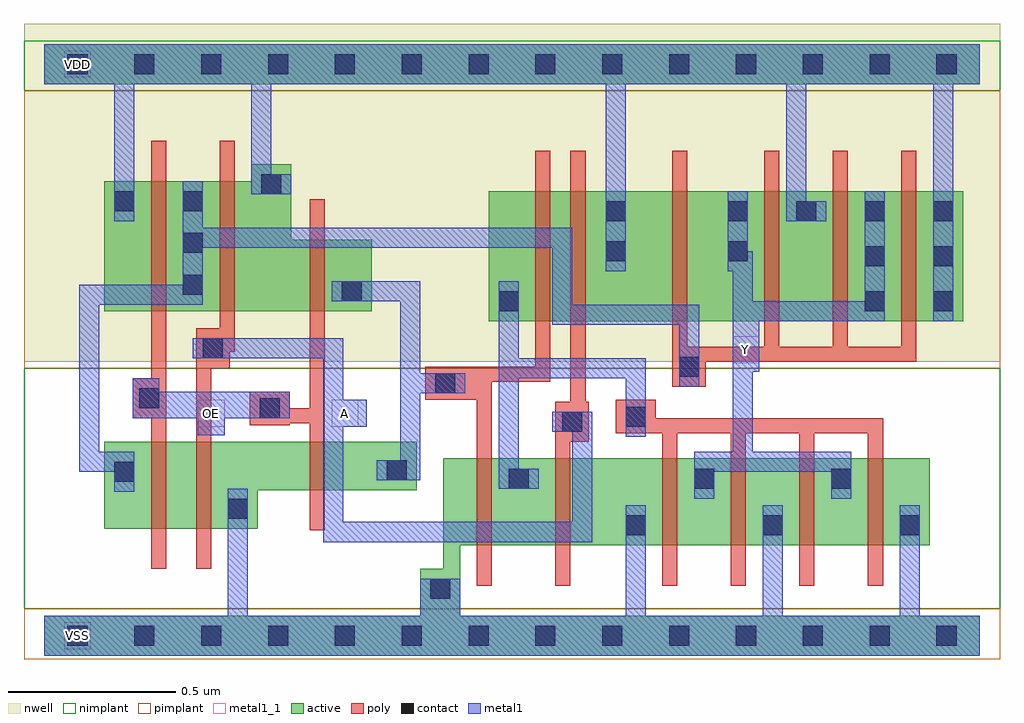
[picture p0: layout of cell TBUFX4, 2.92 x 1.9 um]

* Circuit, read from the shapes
.subckt TBUFX4 A OE VDD VSS Y
M1 n1 OE n2 VSS nfet w=0.26u l=0.045u
M2 VSS A n1 VSS nfet w=0.26u l=0.045u
M3 n3 OE VSS VSS nfet w=0.145u l=0.045u
M4 n4 n3 VSS VSS nfet w=0.26u l=0.045u
M5 VSS A n4 VSS nfet w=0.26u l=0.045u
M6 Y n4 VSS VSS nfet w=0.26u l=0.045u m=4
M7 n2 OE VDD VDD pfet w=0.39u l=0.045u
M8 VDD A n2 VDD pfet w=0.39u l=0.045u
M9 n3 OE VDD VDD pfet w=0.215u l=0.045u
M10 n5 n3 n4 VDD pfet w=0.39u l=0.045u
M11 VDD A n5 VDD pfet w=0.39u l=0.045u
M12 Y n2 VDD VDD pfet w=0.39u l=0.045u m=4
.ends

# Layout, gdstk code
import gdstk
lib = gdstk.Library(unit=1e-6, precision=5e-10)
def R(c, l, rs):  # rectangles x0, y0, x1, y1
    for r in rs: c.add(gdstk.rectangle(r[:2], r[2:], *l))
def A(c, l, x, y, w, h, nx, ny, dx, dy):  # array of equal rectangles
    R(c, l, [(x+i*dx, y+j*dy, x+i*dx+w, y+j*dy+h) for i in range(nx) for j in range(ny)])
def P(c, l, *ps):  # polygons
    for p in ps: c.add(gdstk.Polygon(p, *l))
active = (1, 0)
nwell = (2, 0)
poly = (3, 0)
nimplant = (4, 0)
pimplant = (5, 0)
contact = (6, 0)
metal1 = (7, 0)
metal1_1 = (7, 1)

tbufx4 = lib.new_cell('TBUFX4')
R(tbufx4, active, [(1.33,0.94,2.75,1.33), (0,1.65,2.8,1.77)])
P(tbufx4, active, [(0.62,1.41),(0.74,1.41),(0.74,1.185),(0.98,1.185),(0.98,0.97),(0.18,0.97),(0.18,1.36),(0.62,1.36)],
  [(0.18,0.58),(1.115,0.58),(1.115,0.435),(0.64,0.435),(0.64,0.32),(0.18,0.32)],
  [(1.195,0.53),(2.65,0.53),(2.65,0.27),(1.245,0.27),(1.245,0.06),(2.8,0.06),(2.8,-0.06),(0,-0.06),(0,0.06),(1.125,0.06),(1.125,0.2),(1.195,0.2)])
R(tbufx4, nwell, [(-0.06,0.82,2.86,1.83)])
P(tbufx4, poly, [(0.32,1.48),(0.365,1.48),(0.365,0.2),(0.32,0.2),(0.32,0.65),(0.265,0.65),(0.265,0.77),(0.32,0.77)],
  [(0.525,1.48),(0.57,1.48),(0.57,0.85),(0.555,0.85),(0.555,0.8),(0.5,0.8),(0.5,0.2),(0.455,0.2),(0.455,0.92),(0.525,0.92)],
  [(1.47,1.45),(1.515,1.45),(1.515,0.76),(1.34,0.76),(1.34,0.15),(1.295,0.15),(1.295,0.705),(1.14,0.705),(1.14,0.805),(1.47,0.805)],
  [(1.575,1.45),(1.62,1.45),(1.62,0.7),(1.63,0.7),(1.63,0.58),(1.575,0.58),(1.575,0.15),(1.53,0.15),(1.53,0.7),(1.575,0.7)],
  [(1.88,1.45),(1.925,1.45),(1.925,0.865),(2.155,0.865),(2.155,1.45),(2.2,1.45),(2.2,0.865),(2.36,0.865),(2.36,1.45),(2.405,1.45),(2.405,0.865),(2.565,0.865),(2.565,1.45),(2.61,1.45),(2.61,0.82),(1.98,0.82),(1.98,0.745),(1.88,0.745)],
  [(0.615,0.73),(0.735,0.73),(0.735,0.68),(0.795,0.68),(0.795,1.305),(0.84,1.305),(0.84,0.315),(0.795,0.315),(0.795,0.635),(0.735,0.635),(0.735,0.63),(0.615,0.63)],
  [(1.71,0.705),(1.83,0.705),(1.83,0.65),(2.51,0.65),(2.51,0.15),(2.465,0.15),(2.465,0.605),(2.305,0.605),(2.305,0.15),(2.26,0.15),(2.26,0.605),(2.1,0.605),(2.1,0.15),(2.055,0.15),(2.055,0.605),(1.895,0.605),(1.895,0.15),(1.85,0.15),(1.85,0.605),(1.71,0.605)])
R(tbufx4, nimplant, [(-0.06,0.08,2.86,0.8), (-0.06,1.63,2.86,1.78)])
R(tbufx4, pimplant, [(-0.06,-0.07,2.86,0.08), (-0.06,0.8,2.86,1.63)])
A(tbufx4, contact, 0.07, -0.03, 0.06, 0.06, 14, 2, 0.2, 1.71)
A(tbufx4, contact, 1.74, 0.3, 0.06, 0.06, 3, 1, 0.41, 0)
A(tbufx4, contact, 0.415, 1.02, 0.06, 0.06, 1, 3, 0, 0.125)
A(tbufx4, contact, 2.045, 1.24, 0.06, 0.06, 4, 1, 0.205, 0)
R(tbufx4, contact, [(1.155,0.11,1.215,0.17), (0.55,0.35,0.61,0.41), (1.39,0.44,1.45,0.5), (1.945,0.44,2.005,0.5), (2.355,0.44,2.415,0.5), (0.21,0.46,0.27,0.52), (1.025,0.465,1.085,0.525), (1.55,0.61,1.61,0.67), (1.74,0.625,1.8,0.685), (0.645,0.65,0.705,0.71), (0.285,0.68,0.345,0.74), (1.17,0.725,1.23,0.785), (1.9,0.775,1.96,0.835), (0.475,0.83,0.535,0.89), (1.36,0.97,1.42,1.03), (2.455,0.97,2.515,1.03), (2.66,0.97,2.72,1.03), (0.89,1,0.95,1.06), (2.455,1.105,2.515,1.165), (2.66,1.105,2.72,1.165), (1.68,1.12,1.74,1.18), (2.045,1.12,2.105,1.18), (1.68,1.24,1.74,1.3), (0.21,1.27,0.27,1.33), (0.65,1.32,0.71,1.38)])
P(tbufx4, metal1, [(0,1.77),(2.8,1.77),(2.8,1.65),(2.72,1.65),(2.72,0.94),(2.66,0.94),(2.66,1.65),(2.28,1.65),(2.28,1.3),(2.34,1.3),(2.34,1.24),(2.22,1.24),(2.22,1.65),(1.74,1.65),(1.74,1.09),(1.68,1.09),(1.68,1.65),(0.68,1.65),(0.68,1.38),(0.74,1.38),(0.74,1.32),(0.62,1.32),(0.62,1.65),(0.27,1.65),(0.27,1.24),(0.21,1.24),(0.21,1.65),(0,1.65)],
  [(0.415,1.36),(0.475,1.36),(0.475,1.22),(1.58,1.22),(1.58,0.99),(1.96,0.99),(1.96,0.745),(1.9,0.745),(1.9,0.93),(1.52,0.93),(1.52,1.16),(0.475,1.16),(0.475,0.99),(0.165,0.99),(0.165,0.55),(0.27,0.55),(0.27,0.43),(0.21,0.43),(0.21,0.49),(0.105,0.49),(0.105,1.05),(0.415,1.05)],
  [(1.36,1.06),(1.42,1.06),(1.42,0.83),(1.8,0.83),(1.8,0.595),(1.74,0.595),(1.74,0.77),(1.42,0.77),(1.42,0.5),(1.48,0.5),(1.48,0.44),(1.36,0.44)],
  [(0.86,1.06),(1.125,1.06),(1.125,0.785),(1.26,0.785),(1.26,0.725),(1.125,0.725),(1.125,0.465),(0.995,0.465),(0.995,0.525),(1.065,0.525),(1.065,1),(0.86,1)],
  [(0.445,0.89),(0.895,0.89),(0.895,0.705),(0.965,0.705),(0.965,0.625),(0.895,0.625),(0.895,0.34),(1.58,0.34),(1.58,0.61),(1.52,0.61),(1.52,0.67),(1.64,0.67),(1.64,0.28),(0.835,0.28),(0.835,0.83),(0.445,0.83)],
  [(0.265,0.77),(0.345,0.77),(0.345,0.73),(0.735,0.73),(0.735,0.65),(0.54,0.65),(0.54,0.6),(0.46,0.6),(0.46,0.65),(0.265,0.65)],
  [(2.045,1.33),(2.105,1.33),(2.105,1.15),(2.12,1.15),(2.12,1),(2.455,1),(2.455,1.33),(2.515,1.33),(2.515,0.94),(2.14,0.94),(2.14,0.79),(2.12,0.79),(2.12,0.55),(2.415,0.55),(2.415,0.41),(2.355,0.41),(2.355,0.49),(2.005,0.49),(2.005,0.41),(1.945,0.41),(1.945,0.55),(2.06,0.55),(2.06,1.09),(2.045,1.09)],
  [(0.55,0.44),(0.61,0.44),(0.61,0.06),(1.125,0.06),(1.125,0.17),(1.245,0.17),(1.245,0.06),(1.74,0.06),(1.74,0.39),(1.8,0.39),(1.8,0.06),(2.15,0.06),(2.15,0.39),(2.21,0.39),(2.21,0.06),(2.56,0.06),(2.56,0.39),(2.62,0.39),(2.62,0.06),(2.8,0.06),(2.8,-0.06),(0,-0.06),(0,0.06),(0.55,0.06)])
R(tbufx4, metal1_1, [(0.06,-0.04,0.14,0.04), (0.46,0.625,0.54,0.705), (0.86,0.625,0.94,0.705), (2.06,0.815,2.14,0.895), (0.06,1.67,0.14,1.75)])
tbufx4.add(gdstk.Label('Y', (2.1,0.855), layer=7, texttype=1))
tbufx4.add(gdstk.Label('A', (0.9,0.665), layer=7, texttype=1))
tbufx4.add(gdstk.Label('OE', (0.5,0.665), layer=7, texttype=1))
tbufx4.add(gdstk.Label('VDD', (0.1,1.71), layer=7, texttype=1))
tbufx4.add(gdstk.Label('VSS', (0.1,0), layer=7, texttype=1))
tbufx4.add(gdstk.Label('TBUFX4', (0,0), layer=63, texttype=0))

lib.write_gds('TBUFX4.gds')
